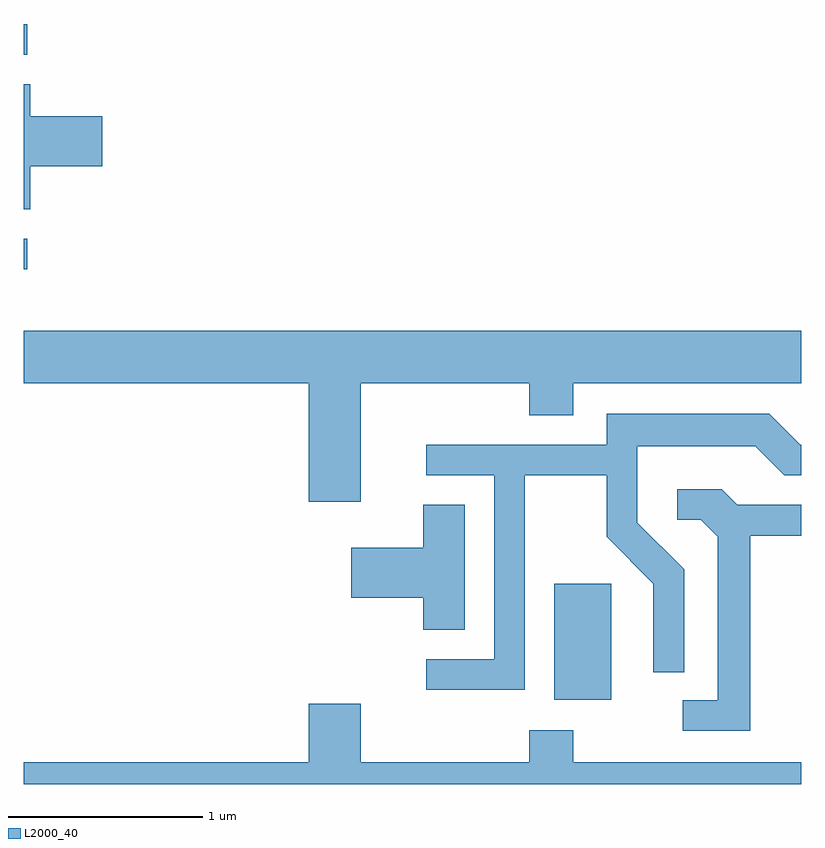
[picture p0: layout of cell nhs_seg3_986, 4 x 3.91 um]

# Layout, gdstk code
import gdstk
lib = gdstk.Library(unit=1e-6, precision=1e-09)
def R(c, l, rs):  # rectangles x0, y0, x1, y1
    for r in rs: c.add(gdstk.rectangle(r[:2], r[2:], *l))
def P(c, l, *ps):  # polygons
    for p in ps: c.add(gdstk.Polygon(p, *l))
L2000_40 = (2000, 40)

nhs_seg3_986 = lib.new_cell('nhs_seg3_986')
R(nhs_seg3_986, L2000_40, [(216.341,1184.326,216.634,1184.924), (213.611,1186.541,213.628,1186.699), (213.611,1187.646,213.628,1187.804)])
P(nhs_seg3_986, L2000_40, [(213.644,1187.071),(214.014,1187.071),(214.014,1187.329),(213.644,1187.329),(213.644,1187.494),(213.611,1187.494),(213.611,1186.851),(213.644,1186.851)],
  [(215.344,1185.956),(216.211,1185.956),(216.211,1185.791),(216.439,1185.791),(216.439,1185.956),(217.611,1185.956),(217.611,1186.224),(213.611,1186.224),(213.611,1185.956),(215.076,1185.956),(215.076,1185.346),(215.344,1185.346)],
  [(216.189,1185.481),(216.611,1185.481),(216.611,1185.164),(216.851,1184.924),(216.851,1184.468),(217.009,1184.468),(217.009,1184.997),(216.769,1185.237),(216.769,1185.631),(217.374,1185.631),(217.524,1185.481),(217.611,1185.481),(217.611,1185.639),(217.607,1185.639),(217.447,1185.799),(216.611,1185.799),(216.611,1185.639),(215.683,1185.639),(215.683,1185.481),(216.031,1185.481),(216.031,1184.534),(215.683,1184.534),(215.683,1184.376),(216.189,1184.376)],
  [(217.349,1185.171),(217.611,1185.171),(217.611,1185.329),(217.282,1185.329),(217.202,1185.409),(216.973,1185.409),(216.973,1185.251),(217.094,1185.251),(217.181,1185.164),(217.181,1184.324),(217.003,1184.324),(217.003,1184.166),(217.349,1184.166)],
  [(215.879,1185.329),(215.666,1185.329),(215.666,1185.109),(215.296,1185.109),(215.296,1184.851),(215.666,1184.851),(215.666,1184.686),(215.879,1184.686)],
  [(217.611,1184.004),(216.439,1184.004),(216.439,1184.169),(216.211,1184.169),(216.211,1184.004),(215.344,1184.004),(215.344,1184.304),(215.076,1184.304),(215.076,1184.004),(213.611,1184.004),(213.611,1183.892),(217.611,1183.892)])

lib.write_gds('nhs_seg3_986.gds')
